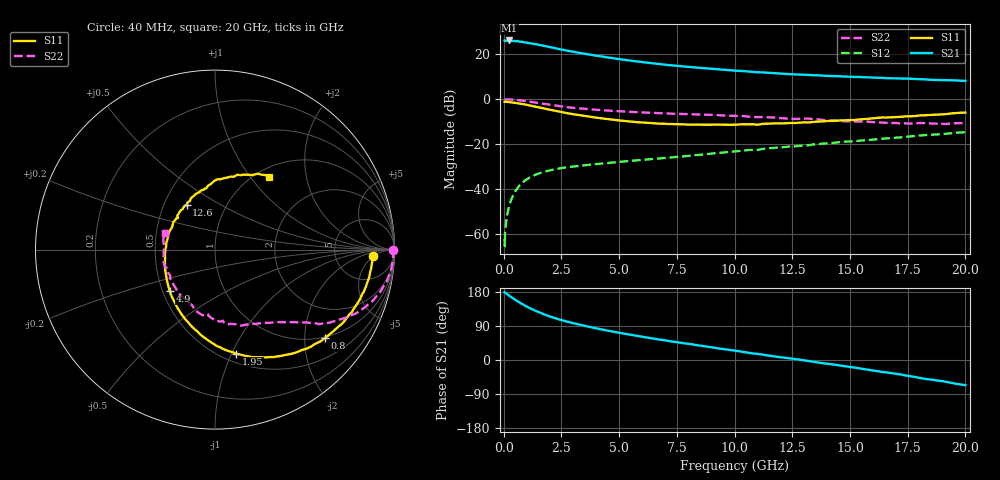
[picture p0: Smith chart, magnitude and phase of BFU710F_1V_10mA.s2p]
! Filename:  P:\Prog\Test\Noise\ATS_data\Testdata_Net\BFU710\BFU710_2W_A1_1V10mA_D.s2p
! Date/Time: Fri 29/Apr/2011 13:26:18
! BFU710_2W_A1_1V10mA
! bias mode 1: Vout= 1.0002 V, Iout= 9.9650 mA, Vin= 0.8477 V, Iin= 0.0380 mA
! Date/time Wed Mar 16 12:56:52 2011
! Device data file deembeded for feedlines and parallel
! Original file: \BFU710\BFU710_2W_A1_1V10mA_R.s2p
! Feed-files: PR003V01_101208_Feed1.s2p, PR003V01_101208_Feed2.s2p
! Parallel-file: PR003V01_101208_Par.s2p
# MHz S MA R 50
!  Freq-MHz  S11-mag  S11-arg  S21-mag  S21-arg  S12-mag  S12-arg  S22-mag  S22-arg
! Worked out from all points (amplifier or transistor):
!   167 points, 40 MHz to 20 GHz, reference 50 ohm
!   highest |S21| = 26.2 dB at 240 MHz (marker M1)
!   |S21| within 3 dB of that: start of sweep to 2.002 GHz
!   unconditionally stable (mu >= 1): 4.579 GHz to 17.7 GHz
!   at 550 MHz: K = 0.10, MSG = 33.1 dB, |S12| = -40.3 dB
!   at 4.2 GHz: K = 0.95, MSG = 23.9 dB, |S12| = -28.7 dB
!   at 20 GHz: K = 0.88, MSG = 11.4 dB, |S12| = -14.6 dB
!   S11 on the Smith chart (normalised r, x): 40 MHz: 14, -4; 800 MHz: 0.97, -2.49; 1.95 GHz: 0.58, -1.04; 4.9 GHz: 0.54, -0.29; 12.6 GHz: 0.65, +0.36; 20 GHz: 1.15, +1.24
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40  0.8805 -2.2  20.2 178.8  0.000756 83.7  0.9902 -0.0
60  0.8757 -3.2  19.8 177.5  0.0009942 96.5  0.9926 -0.6
90  0.8784 -4.8  20.25 176.4  0.001584 87.1  0.9936 -1.5
240  0.8672 -12.6  20.4 169.8  0.004268 85.0  0.9901 -5.1
320  0.8568 -16.8  19.86 166.3  0.005715 83.4  0.9859 -7.0
480  0.8387 -24.5  19.94 159.8  0.008533 79.5  0.974 -10.4
500  0.8312 -25.7  19.53 158.9  0.008879 79.0  0.9707 -10.9
600  0.8203 -30.1  19.82 155.0  0.01052 76.4  0.9585 -12.8
700  0.8 -34.8  19 151.3  0.01221 74.0  0.9458 -15.1
800  0.7853 -39.0  19.08 147.8  0.01364 71.4  0.9325 -16.6
1150  0.7237 -53.0  17.73 136.3  0.0184 64.2  0.8774 -22.5
1400  0.6812 -61.6  16.82 129.3  0.02111 60.1  0.8403 -25.9
1950  0.592 -78.3  14.66 115.8  0.02581 53.1  0.7633 -32.0
2500  0.5189 -92.0  12.8 105.3  0.02945 48.4  0.6925 -36.4
3400  0.432 -110.2  10.54 91.7  0.03344 43.7  0.6189 -41.0
4900  0.3428 -137.4  7.978 72.9  0.03987 40.5  0.5449 -47.9
6800  0.2862 -167.0  6.036 53.6  0.04827 38.3  0.4894 -57.0
10200  0.2741 148.9  4.302 23.1  0.0704 32.9  0.4229 -78.3
12600  0.2959 122.2  3.574 2.7  0.08927 24.4  0.3631 -96.0
13400  0.3124 115.9  3.438 -4.5  0.09857 22.0  0.3628 -105.0
16800  0.3969 84.3  2.936 -34.6  0.1362 4.8  0.2961 -143.5
20000  0.5049 53.2  2.566 -66.5  0.1858 -17.3  0.2926 162.0
